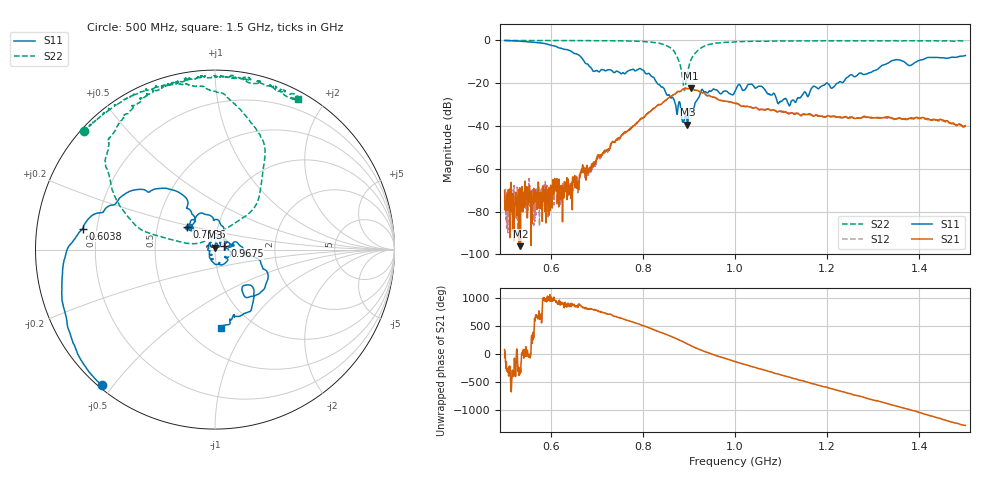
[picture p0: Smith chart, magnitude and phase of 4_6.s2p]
!Agilent Technologies,E8364B,US42250235,A.06.04.32
!Agilent E8364B: A.06.04.32
!Date: Friday, January 15, 2021 14:59:26
!Correction: S11(Full 2 Port(1,2)) S21(Full 2 Port(1,2)) S12(Full 2 Port(1,2)) S22(Full 2 Port(1,2))
!S2P File: Measurements: S11, S21, S12, S22:
# Hz S  dB  R 50
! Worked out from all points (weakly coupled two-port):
!   1601 points, 500 MHz to 1.5 GHz, reference 50 ohm
!   highest |S21| = -22.46 dB at 903.8 MHz (marker M1); lowest = -96.2 dB at 534.4 MHz (marker M2)
!   lowest |S11| = -39.4 dB at 896.9 MHz (marker M3), VSWR 1.02, Z = 49.8 + j1.05 ohm
!   |S11| at or under -10 dB: 672.9 MHz to 1.337 GHz (664 MHz wide, 66.1 % of centre); 1.367 GHz to 1.394 GHz (27.53 MHz wide, 1.99 % of centre)
!   |S22| runs from -23.5 to -0.1 dB; largest |S21 - S12| = 0.0064
!   S11 on the Smith chart (normalised r, x): 500 MHz: 0.01, -0.47; 603.8 MHz: 0.15, +0.08; 715.6 MHz: 0.71, +0.19; 967.5 MHz: 1.11, +0.05; 1.5 GHz: 0.72, -0.78
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5e8  -0.13 -129.8  -70.12 83.8  -75.13 144.6  -0.16 137.9
5.0625e8  -0.16 -132.8  -79.61 88.7  -85.12 151.9  -0.17 137.2
5.34375e8  -0.48 -146.8  -96.17 72.9  -71.95 24.4  -0.17 134.5
5.93125e8  -1.92 177.6  -74.64 -42.8  -82.18 41.4  -0.15 129.2
6.0375e8  -2.54 171.0  -68.19 -89.6  -70.21 -151.1  -0.22 127.8
6.41875e8  -4.84 145.3  -68.87 158.8  -68.16 -175.4  -0.20 124.1
6.66875e8  -8.11 123.8  -60.63 129.4  -60.51 127.6  -0.21 121.0
7.15625e8  -13.88 141.0  -51.87 22.1  -52.27 25.5  -0.25 115.5
7.95625e8  -13.42 108.5  -36.57 164.6  -36.76 166.8  -0.57 100.6
8.3375e8  -20.65 68.3  -30.11 46.1  -30.18 49.4  -1.33 85.7
8.7125e8  -30.25 33.6  -24.88 -76.8  -25.09 -72.7  -6.39 56.7
8.89375e8  -37.43 86.4  -22.67 -146.8  -22.75 -142.5  -23.16 103.0
8.96875e8  -39.43 97.8  -22.65 -177.9  -22.70 -173.3  -15.28 167.5
9.0375e8  -32.56 125.8  -22.46 155.3  -22.56 159.4  -9.48 166.4
9.2875e8  -22.95 94.8  -24.47 66.6  -24.60 71.0  -3.31 148.1
9.675e8  -24.91 21.6  -28.04 -44.8  -28.11 -41.5  -1.24 129.7
1e9  -23.84 5.9  -29.48 -130.5  -29.36 -125.4  -0.74 120.0
1.055625e9  -21.54 -84.5  -32.31 97.1  -32.32 101.4  -0.44 111.3
1.118125e9  -30.68 -168.8  -34.26 -49.2  -33.95 -46.5  -0.37 102.9
1.166875e9  -22.23 64.2  -35.02 -163.7  -34.97 -155.5  -0.36 96.8
1.33375e9  -10.51 -21.8  -35.87 -168.9  -36.32 -168.6  -0.31 78.8
1.5e9  -7.14 -85.8  -39.89 169.7  -40.44 166.6  -0.39 61.2
